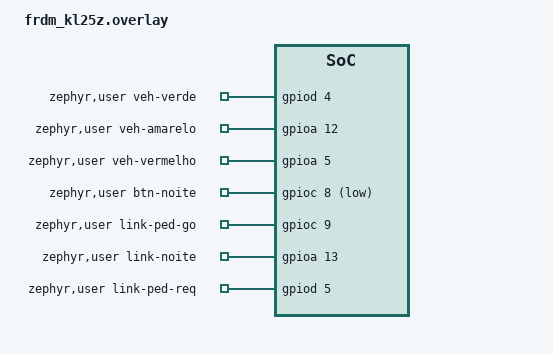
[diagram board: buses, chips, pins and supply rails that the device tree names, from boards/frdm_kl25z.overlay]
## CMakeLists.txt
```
# Semáforo de VEÍCULOS — placa 2
cmake_minimum_required(VERSION 3.20.0)
find_package(Zephyr REQUIRED HINTS $ENV{ZEPHYR_BASE})
project(semaforo_veiculos)

set(LIB ${CMAKE_CURRENT_SOURCE_DIR}/../lib)
target_include_directories(app PRIVATE ${LIB}/include)
target_sources(app PRIVATE
  src/main.c
  ${LIB}/src/semaforo_logica.c
  ${LIB}/src/hal_comum.c
  ${LIB}/src/hal_gpio.c
  ${LIB}/src/veiculos.c
)
```

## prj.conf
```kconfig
CONFIG_GPIO=y
CONFIG_PRINTK=y
CONFIG_SERIAL=y
CONFIG_CONSOLE=y
CONFIG_UART_CONSOLE=y
CONFIG_THREAD_NAME=y
CONFIG_MAIN_STACK_SIZE=1024
```

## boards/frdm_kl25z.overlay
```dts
/*
 * Placa de VEÍCULOS — mapeamento de pinos (FRDM-KL25Z)
 *
 *  Sinal            Pino   Header Arduino  Ligação
 *  ---------------  -----  --------------  ------------------------------------
 *  LED verde        PTD4   D2   (J1-6)     pino -> 330R -> LED -> GND
 *  LED amarelo      PTA12  D3   (J1-8)     pino -> 330R -> LED -> GND
 *  LED vermelho     PTA5   D5   (J1-12)    pino -> 330R -> LED -> GND
 *  Botão noturno    PTC8   D6   (J1-14)    pino -> botão -> GND (pull-up interno)
 *  LINK_PED_GO  out PTC9   D7   (J1-16)    -> 1k -> D7 da placa de pedestres
 *  LINK_NOITE   out PTA13  D8   (J2-2)     -> 1k -> D8 da placa de pedestres
 *  LINK_PED_REQ in  PTD5   D9   (J2-4)     <- 1k <- D9 da placa de pedestres
 *  GND              GND         (J2-14)    <-> GND da placa de pedestres
 */
#include <zephyr/dt-bindings/gpio/gpio.h>

/ {
	zephyr,user {
		veh-verde-gpios    = <&gpiod 4 GPIO_ACTIVE_HIGH>;
		veh-amarelo-gpios  = <&gpioa 12 GPIO_ACTIVE_HIGH>;
		veh-vermelho-gpios = <&gpioa 5 GPIO_ACTIVE_HIGH>;
		btn-noite-gpios    = <&gpioc 8 (GPIO_ACTIVE_LOW | GPIO_PULL_UP)>;
		link-ped-go-gpios  = <&gpioc 9 GPIO_ACTIVE_HIGH>;
		link-noite-gpios   = <&gpioa 13 GPIO_ACTIVE_HIGH>;
		link-ped-req-gpios = <&gpiod 5 (GPIO_ACTIVE_HIGH | GPIO_PULL_DOWN)>;
	};
};

&gpioa { status = "okay"; };
&gpioc { status = "okay"; };
&gpiod { status = "okay"; };
```

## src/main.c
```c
/*
 * Semáforo de VEÍCULOS (FRDM-KL25Z)
 * Toda a lógica está em lib/src/veiculos.c — aqui só inicializamos.
 */
#include <zephyr/kernel.h>
#include <zephyr/sys/printk.h>

#include "semaforo_hal.h"
#include "veiculos.h"

int main(void)
{
	printk("\n=== SEMAFORO DE VEICULOS (Aula07 PSI-Micro2) ===\n");
	printk("Formato do log: @<ms> <SINAL> <0|1>\n");

	if (veiculos_iniciar() != 0) {
		printk("ERRO: falha ao configurar GPIOs (veja o overlay)\n");
	}

	/* Heartbeat: a cada 10 s mostra a contagem de violações (deve ser 0). */
	for (;;) {
		k_sleep(K_SECONDS(10));
		printk("@%u STATUS violacoes=%u\n", k_uptime_get_32(), hal_violacoes());
	}
	return 0;
}
```
